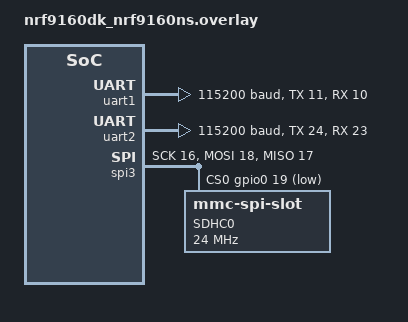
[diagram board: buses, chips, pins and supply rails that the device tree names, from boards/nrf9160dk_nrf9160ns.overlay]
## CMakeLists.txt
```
#
# Copyright (c) 2018 Nordic Semiconductor ASA
#
# SPDX-License-Identifier: LicenseRef-BSD-5-Clause-Nordic
#

cmake_minimum_required(VERSION 3.13.1)
list(APPEND BOARD_ROOT ${CMAKE_CURRENT_SOURCE_DIR})

find_package(Zephyr REQUIRED HINTS $ENV{ZEPHYR_BASE})
project(oasys_project)

if(NOT EXISTS ${APPLICATION_SOURCE_DIR}/src/private_info/key.c)
    message(FATAL_ERROR "!!!!!! Generate key file before continuing !!!!!!")
endif()

# NORDIC SDK APP START

file(GLOB SRC_FILES
    "src/*.c"
)
file(GLOB HEADER_FILES
    "include/*.h"
)

target_sources(app PRIVATE
    ${SRC_FILES}
    ${HEADER_FILES}
    src/private_info/key.c
)

zephyr_include_directories(include)

# NORDIC SDK APP END
```

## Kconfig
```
#
# Copyright (c) 2020 Nordic Semiconductor ASA
#
# SPDX-License-Identifier: LicenseRef-BSD-5-Clause-Nordic
#

menu "Gcloud parameters"
config GCLOUD_PROJECT_NAME
    string "Name of the Google Cloud project"

config GCLOUD_REGION
    string "Google cloud region"

config GCLOUD_REGISTRY_NAME
    string "Name of the Google Cloud reigstry of the device"

config GCLOUD_DEVICE_NAME
    string "Name of the device in Google Cloud"
          

config DATE_TIME_UPDATE_INTERVAL_SECONDS
    int "Date time update interval, in seconds"
    default 10

config GCLOUD_WATCHDOG_TIMEOUT_MSEC
    int "Watchdog timeout in milliseconds"
    default 10000

config GCLOUD_LOG_LEVEL
    int "App log level"
    default 4

endmenu
    
menuconfig DATE_TIME
    bool "Date time library"
    select AT_CMD
    select SNTP
    depends on BSD_LIBRARY

menu "MQTT simple sample"
config MQTT_PUB_TOPIC
	string "MQTT publish topic"
	default "my/publish/topic"

config MQTT_SUB_TOPIC
	string "MQTT subscribe topic"
	default "my/subscribe/topic"

config MQTT_CLIENT_ID
	string "MQTT Client ID"
	default "my-client-id"

config MQTT_BROKER_HOSTNAME
	string "MQTT broker hostname"
	default "mqtt.eclipse.org"

config MQTT_BROKER_PORT
	int "MQTT broker port"
	default 1883

config MQTT_MESSAGE_BUFFER_SIZE
	int "MQTT message buffer size"
	default 256

config MQTT_PAYLOAD_BUFFER_SIZE
	int "MQTT payload buffer size"
	default 256

config BUTTON_EVENT_PUBLISH_MSG
	string "The message to publish on a button event"
	default "Hello from nRF91 MQTT Simple Sample"

config BUTTON_EVENT_BTN_NUM
	int "The button number"
	default 1

config MQTT_RECONNECT_DELAY_S
	int "Seconds to delay before attempting to reconnect to the broker."
	default 60

config LTE_CONNECT_RETRY_DELAY_S
	int "Seconds to delay before attempting to retry LTE connection."
	default 120

config MQTT_TLS_SEC_TAG
	int "TLS credentials security tag"
	default 24

config MQTT_TLS_SESSION_CACHING
	bool "Enable TLS session caching"

config MQTT_TLS_PEER_VERIFY
	int "Set peer verification level"
	default 2
	help
		Set to 0 for VERIFY_NONE, 1 for VERIFY_OPTIONAL, and 2 for
		VERIFY_REQUIRED.

endmenu

menu "GPS sample"

config GPS_SAMPLE_NMEA_ONLY
	bool "Output only NMEA strings"
	help
	  Outputs only NMEA strings from the GPS.

choice GPS_SAMPLE_ANTENNA
	default GPS_SAMPLE_ANTENNA_ONBOARD
	prompt "Select which antenna to use for GPS"

config GPS_SAMPLE_ANTENNA_ONBOARD
	bool "Use onboard antenna"

config GPS_SAMPLE_ANTENNA_EXTERNAL
	bool "Use external antenna"

endchoice

endmenu

config PRINTK
    bool "Send printk() to console"
    default y
    help
        This option directs printk() debugging output to the supported
        console device, rather than suppressing the generation
        of printk() output entirely. Output is sent immediately, without
        any mutual exclusion or buffering.

menu "Zephyr Kernel"
source "Kconfig.zephyr"
endmenu

module = MQTT_SIMPLE
module-str = MQTT Simple
source "${ZEPHYR_BASE}/subsys/logging/Kconfig.template.log_config"
```

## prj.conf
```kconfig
#
# Copyright (c) 2020 Nordic Semiconductor ASA
#
# SPDX-License-Identifier: LicenseRef-BSD-5-Clause-Nordic
#
CONFIG_STDOUT_CONSOLE=y
CONFIG_NEWLIB_LIBC=y
CONFIG_NEWLIB_LIBC_FLOAT_PRINTF=y
CONFIG_AT_CMD=y
CONFIG_AT_NOTIF=y

# Networking
CONFIG_NETWORKING=y
CONFIG_NET_NATIVE=n
CONFIG_NET_SOCKETS_OFFLOAD=y
CONFIG_NET_SOCKETS=y
CONFIG_NET_SOCKETS_POSIX_NAMES=y

# LTE link control
CONFIG_LTE_LINK_CONTROL=y
CONFIG_LTE_AUTO_INIT_AND_CONNECT=n
# FOR DEBUGGING ONLY
CONFIG_LTE_NETWORK_TIMEOUT=10
CONFIG_LTE_CONNECT_RETRY_DELAY_S=10

# BSD library
CONFIG_BSD_LIBRARY=y

# AT Host
CONFIG_UART_INTERRUPT_DRIVEN=y
CONFIG_AT_HOST_LIBRARY=y

# MQTT
CONFIG_MQTT_LIB=y
CONFIG_MQTT_LIB_TLS=y
CONFIG_MQTT_CLEAN_SESSION=y

# # Application
# CONFIG_MQTT_PUB_TOPIC="projects/nordicoasys/topics/data"
# CONFIG_MQTT_SUB_TOPIC="projects/nordicoasys/topics/commands"
# CONFIG_MQTT_CLIENT_ID="einarNrf9160"
# CONFIG_MQTT_BROKER_HOSTNAME="broker.mqttdashboard.com"
# CONFIG_MQTT_BROKER_PORT=1883

# Button support
CONFIG_DK_LIBRARY=y

# Enable logging
CONFIG_LOG=y
CONFIG_MQTT_SIMPLE_LOG_LEVEL_DBG=y

CONFIG_DK_LIBRARY_INVERT_LEDS=n
# CONFIG_DK_LIBRARY_INVERT_BUTTONS=n

# UART
CONFIG_GPIO=y
CONFIG_SERIAL=y

# SD
CONFIG_FILE_SYSTEM=y
CONFIG_FAT_FILESYSTEM_ELM=y
CONFIG_DISK_ACCESS_SDHC=y
CONFIG_DISK_ACCESS_SPI_SDHC=y
CONFIG_SPI=y
CONFIG_SPI_3=y
CONFIG_NRFX_SPIM=y

# Main Thread
CONFIG_MAIN_THREAD_PRIORITY=7






# App config
CONFIG_GCLOUD_LOG_LEVEL=4
CONFIG_WATCHDOG=n
CONFIG_ASSERT=y
CONFIG_REBOOT=y

# General config
CONFIG_CJSON_LIB=y

# Debug settings
CONFIG_LOG_PRINTK=n
CONFIG_LOG_DEFAULT_LEVEL=4
# CONFIG_LOG_BACKEND_SHOW_COLOR=y
# CONFIG_LOG_BACKEND_UART=y
# CONFIG_LOG_BACKEND_RTT=n

# # Optimisation
# CONFIG_NO_OPTIMIZATIONS=y
# CONFIG_DEBUG=y

# Expand logging memory to avoid log_strdup() errors
CONFIG_LOG_STRDUP_MAX_STRING=256
CONFIG_LOG_STRDUP_BUF_COUNT=12

# LTE link control
CONFIG_LTE_LINK_CONTROL_LOG_LEVEL_DBG=n

CONFIG_LTE_NETWORK_MODE_NBIOT=n
CONFIG_LTE_NETWORK_MODE_LTE_M=y
CONFIG_LTE_NETWORK_USE_FALLBACK=n

CONFIG_DATE_TIME_UPDATE_INTERVAL_SECONDS=0

CONFIG_LTE_LEGACY_PCO_MODE=n
CONFIG_LTE_PSM_REQ_RPTAU="00000110"
CONFIG_LTE_PSM_REQ_RAT="00000010"
# CONFIG_LTE_PSM_REQ_RPTAU="10100000"
# CONFIG_LTE_PSM_REQ_RAT="11100000"

# BSD library
CONFIG_DATE_TIME=y
CONFIG_DATE_TIME_MODEM=y
CONFIG_DATE_TIME_UPDATE_INTERVAL_SECONDS=3600
CONFIG_SNTP=y
CONFIG_FP_HARDABI=y
# CONFIG_DATE_TIME_LOG_LEVEL_DBG=y

# Disable Modem traces, since we need UART1 for HCI
CONFIG_BSD_LIBRARY_TRACE_ENABLED=n

# Networking
# CONFIG_NET_LOG=y
# CONFIG_NET_SOCKETS_LOG_LEVEL_DBG=y

CONFIG_NET_IPV4=y
CONFIG_NET_IPV6=n
CONFIG_NET_TCP=y
CONFIG_NET_UDP=y

# nRF9160 helper libraries
CONFIG_MODEM_KEY_MGMT=y
CONFIG_DNS_RESOLVER=y
CONFIG_MODEM_INFO=y

# Google Cloud
CONFIG_GCLOUD_REGION="europe-west1"
CONFIG_GCLOUD_PROJECT_NAME="oasys-2d5b2"
CONFIG_GCLOUD_REGISTRY_NAME="oasys_gliders"
CONFIG_GCLOUD_DEVICE_NAME="G039189"

# JSON
CONFIG_JSON_LIBRARY=y

# JWT
CONFIG_JWT=y
CONFIG_JWT_SIGN_ECDSA=y

# MQTT
CONFIG_MQTT_MESSAGE_BUFFER_SIZE=1024
CONFIG_MQTT_PAYLOAD_BUFFER_SIZE=1024

# Heap and stacks
CONFIG_HEAP_MEM_POOL_SIZE=16384
CONFIG_MAIN_STACK_SIZE=8192
CONFIG_SYSTEM_WORKQUEUE_STACK_SIZE=2048
CONFIG_HW_STACK_PROTECTION=y

# Enable settings storage
CONFIG_SETTINGS=y
```

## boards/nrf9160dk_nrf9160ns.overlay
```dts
&uart1 {
	status = "okay";
	current-speed = <115200>;
	tx-pin = <11>;
	rx-pin = <10>;
	rts-pin = <12>;
	cts-pin = <13>;
};

&i2c2 {
	status = "disabled";
};

&uart2 {
	status = "okay";
	current-speed = <115200>;
	tx-pin = <24>;
	rx-pin = <23>;
	rts-pin = <26>;
	cts-pin = <27>;
};

&spi3 {

	status = "okay";
	sck-pin = <16>;
	mosi-pin = <18>;
	miso-pin = <17>;

	cs-gpios = <&gpio0 19 GPIO_ACTIVE_LOW>;

	sdhc0: sdhc@0 {
		compatible = "zephyr,mmc-spi-slot";
		reg = <0>;
		status = "okay";
		label = "SDHC0";
		spi-max-frequency = <24000000>;
	};
};
```

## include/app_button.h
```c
#pragma once
#ifndef _APP_BUTTON_H_
#define _APP_BUTTON_H_

void button_dev_init(void);
void ext_led_init(void);
// int toggle_LED(int led_val);
int set_LED(int led_val, int val);

#endif
```

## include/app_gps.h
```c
#pragma once
#ifndef _APP_GPS_H_
#define _APP_GPS_H_

#include <time.h>

typedef struct
{
	uint8_t gps_string[128];

	struct tm time;

} glider_gps_data_t;

int app_gps(glider_gps_data_t *app_gps_data, int64_t gps_timeout, int retry_interval);

#endif
```

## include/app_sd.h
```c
#pragma once
#ifndef _APP_SD_H_
#define _APP_SD_H_

enum sd_event_type
{
    READ_JSON,
    READ_JSON_4G,
    FIND_FILE,
    SEND_FILE_INFO,
    READ_FILE,
    OVERWRITE_FILE,
    WRITE_FILE
};

typedef struct
{
    enum sd_event_type event;
    uint8_t filename[32];
    uint8_t string[512];
} sd_msg_t;

void app_sd(void);
void app_sd_thread(void *unused1, void *unused2, void *unused3);

#endif
```

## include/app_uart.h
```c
#pragma once
#ifndef _APP_UART_H_
#define _APP_UART_H_

enum uart_device_type
{
	UART_1,
	UART_2
};

void uart_dev_init(enum uart_device_type uart_dev_no);
void uart_start(enum uart_device_type uart_dev_no);
void uart_exit(enum uart_device_type uart_dev_no);
void uart_send(enum uart_device_type uart_dev_no, char *msg, size_t len);

#endif
```

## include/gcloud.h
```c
#ifndef __MQTT_H__
#define __MQTT_H__

#include <modem/lte_lc.h>
#include <net/mqtt.h>

typedef void (*received_config_handler_t)(const struct mqtt_publish_message *message);

/**
 * @brief Publishes data to Google Cloud.
 * 
 * @param[in] data A pointer to the data to be sent.
 * @param[in] size The size of the data to be sent.
 * @param[in] qos The Quality of Serive level to be used when sending the telemetry.
 * 
 * @note Google Cloud does only support QoS 0 and QoS 1, not QoS 2
 * 
 * @retval 0 or an error code indicating reason for failure.
 */
// CANDO: Make it possible to publish gps to subtopics
int gcloud_publish(uint8_t *data, uint32_t size, enum mqtt_qos qos);

/**
 * @brief Publishes device state to Google Cloud.
 * 
 * @param[in] data A pointer to the data to be sent.
 * @param[in] size The size of the data to be sent.
 * @param[in] qos The Quality of service level to be used when sending the state.
 * 
 * @note Google Cloud does only support QoS 0 and QoS 1, not Qos 2.
 * @note Google Cloud limits state updates to 1 update per second, per device. 
 *       However, for best results, device state should be updated much less often 
 *       - at most, once every 10 second.
 * 
 * @retval 0 or an error code indicating reson for failure.
 */
int gcloud_publish_state(uint8_t *data, uint32_t size, enum mqtt_qos qos);

/**
 * @brief Initializes the module and provisions the modem so that an TLS 
 * connection can be established to Google Cloud.
 * 
 * @note Shall be called before the modem is turned on.
 * @note Shall be called before gcloud_connect.
 * @note If module initialization fails, no module APIs shall be called.
 * 
 * @retval 0 or an error code indicating reason for failure.
 */
int modem_configure(void);

int modem_reconnect(void);

int gcloud_provision(void);

int app_gcloud_init_and_connect(int retries);

int app_gcloud_reconnect(int retries);

int app_gcloud(void);

int app_gcloud_disconnect(int retries);

#endif /* __MQTT_H__ */
```

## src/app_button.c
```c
#include <zephyr.h>
#include <device.h>
#include <drivers/gpio.h>
#include <kernel.h>
#include <string.h>
#include <dk_buttons_and_leds.h>

#include "app_button.h"
#include "app_uart.h"
#include "app_mqtt.h"

static bool led1_on = false;

#define MSG_1 "Pressed Button 1"
#define MSG_2 "Pressed Button 2"
#define MSG_3 "{\"health\":\"true\"}"
#define MSG_4 "{\"health\":\"false\"}"
#define MSG_DEFAULT "\"hi\"\n"
#define MSG_DEFAULT2 "ABCDEFGHIJ"
#define MSG_DEFAULT3 "short"
// message queues
extern struct k_msgq button_msg_q;
extern struct k_msgq button_msg_qr;
static int app_button_config;

extern struct k_msgq uart_msg_q;
extern struct k_msgq mqtt_msg_q;

// LOCAL
const struct device *dev_gpio;

static void button_handler(uint32_t button_states, uint32_t has_changed)
{
	// printk("button states: %d, has changed: %d \n", button_states, has_changed);
	// printk("button 1: %d\n", gpio_pin_get(dev_gpio, 6));
	// printk("button 2: %d\n", gpio_pin_get(dev_gpio, 7));

	int app_button_ret_val;

	k_msgq_get(&button_msg_q, &app_button_config, K_NO_WAIT);

	// TODO: create functions for the cases
	switch (app_button_config)
	{
	case 0: // for waiting
		if (has_changed == 1 && !gpio_pin_get(dev_gpio, 6))
		{
			app_button_ret_val = 1;
			k_msgq_put(&button_msg_qr, &app_button_ret_val, K_NO_WAIT);
		}

		break;
	case 1: // UART
		if (has_changed == 1 && !gpio_pin_get(dev_gpio, 6))
		{
			k_msgq_put(&uart_msg_q, "surfaced", K_NO_WAIT);
		}

		break;
	// case 2: // MQTT
	// 	if (has_changed == 1 && !gpio_pin_get(dev_gpio, 6))
	// 	{
	// 		k_msgq_put(&mqtt_msg_q, "exit", K_NO_WAIT);
	// 	}

	// 	else if (has_changed == 2 && !gpio_pin_get(dev_gpio, 7))
	// 	{
	// 		app_data_publish(MSG_2, sizeof(MSG_2));
	// 	}

	// 	else if (has_changed == 4)
	// 	{
	// 		app_data_publish(MSG_3, sizeof(MSG_3));
	// 	}

	// 	else if (has_changed == 8)
	// 	{
	// 		app_data_publish(MSG_4, sizeof(MSG_4));
	// 	}

	// 	break;
	case 3: // Choice: wifi or mqtt
		if (has_changed == 1 && !gpio_pin_get(dev_gpio, 6))
		{
			app_button_ret_val = 1;
			k_msgq_put(&button_msg_qr, &app_button_ret_val, K_NO_WAIT);
		}

		break;
		// case 999: // DO NOT USE, ONLY FOR TEMPLATE
		// 	if(has_changed == 1 && !gpio_pin_get(dev_gpio, 6)) {
		// 		// empty
		// 	}

		// 	else if(has_changed == 2 && !gpio_pin_get(dev_gpio, 7)) {
		// 		// empty
		// 	}

		// 	else if(has_changed == 4) {
		// 		// empty
		// 	}

		// 	else if(has_changed == 8) {
		// 		// empty
		// 	}
		// 	break;

	default:
		printk("\nunregistered button configuration\n");
		break;
	}
}

// initialize buttons
void button_dev_init(void)
{
	dev_gpio = device_get_binding("GPIO_0");
	dk_buttons_init(button_handler);
}

// external LEDS
void ext_led_init()
{
	gpio_pin_configure(dev_gpio, 21, GPIO_OUTPUT_INACTIVE); // SD module
	gpio_pin_configure(dev_gpio, 22, GPIO_OUTPUT_INACTIVE); // gps module
	gpio_pin_configure(dev_gpio, 20, GPIO_OUTPUT_INACTIVE); // sensor module
	gpio_pin_configure(dev_gpio, 30, GPIO_OUTPUT_INACTIVE); // wifi module
	gpio_pin_configure(dev_gpio, 31, GPIO_OUTPUT_INACTIVE); // 4G module
															// 30 & 31 satellite module
}

// toggle specified LED
// NO LONGER IN USE
/*
int toggle_LED(int led_val)
{
	switch (led_val)
	{
	case 1:
		led1_on = !led1_on;
		dk_set_led(DK_LED1, led1_on);

		break;
	case 20:
		gpio_pin_toggle(dev_gpio, 20);

		break;
	case 21:
		gpio_pin_toggle(dev_gpio, 21);

		break;
	case 22:
		gpio_pin_toggle(dev_gpio, 22);

		break;
	case 30:
		gpio_pin_toggle(dev_gpio, 30);

		break;
	case 31:
		gpio_pin_toggle(dev_gpio, 31);

		break;
	default:
		printk("\nunknown led value\n");
		break;
	}

	return 0;
}
*/

// set specified LED value
int set_LED(int led_val, int val)
{
	gpio_pin_set(dev_gpio, led_val, val);

	return 0;
}
```

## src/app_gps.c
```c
/*
 * Copyright (c) 2019 Nordic Semiconductor ASA
 *
 * SPDX-License-Identifier: LicenseRef-BSD-5-Clause-Nordic
 */

#include <zephyr.h>
#include <nrf_socket.h>
#include <net/socket.h>
#include <stdio.h>
#include <string.h>
#include <modem/at_cmd.h>
#include <modem/at_notif.h>
#include <cJSON.h>
#include <time.h>
#include <date_time.h>

#include "app_gps.h"

LOG_MODULE_REGISTER(app_gps);

#ifdef CONFIG_SUPL_CLIENT_LIB
#include <supl_os_client.h>
#include <supl_session.h>
#include "supl_support.h"
#endif

#define AT_XSYSTEMMODE "AT\%XSYSTEMMODE=1,0,1,0"
#define AT_DEACTIVATE_GPS "AT+CFUN=30"
#define AT_ACTIVATE_GPS "AT+CFUN=31"
#define AT_ACTIVATE_LTE "AT+CFUN=21"
#define AT_DEACTIVATE_LTE "AT+CFUN=20"

#define GNSS_INIT_AND_START 1
#define GNSS_STOP 2
#define GNSS_RESTART 3

#define AT_CMD_SIZE(x) (sizeof(x) - 1)

#ifdef CONFIG_BOARD_NRF9160DK_NRF9160NS
#define AT_MAGPIO "AT\%XMAGPIO=1,0,0,1,1,1574,1577"
#ifdef CONFIG_GPS_SAMPLE_ANTENNA_ONBOARD
#define AT_COEX0 "AT\%XCOEX0=1,1,1565,1586"
#elif CONFIG_GPS_SAMPLE_ANTENNA_EXTERNAL
#define AT_COEX0 "AT\%XCOEX0"
#endif
#endif /* CONFIG_BOARD_NRF9160DK_NRF9160NS */

static const char update_indicator[] = {'\\', '|', '/', '-'};
static const char *const at_commands[] = {
	AT_XSYSTEMMODE,
#if defined(CONFIG_BOARD_NRF9160DK_NRF9160NS)
	AT_MAGPIO,
	AT_COEX0,
#endif
	AT_ACTIVATE_GPS};

static int gnss_fd;
static char nmea_strings[10][NRF_GNSS_NMEA_MAX_LEN];
static uint32_t nmea_string_cnt;

static bool got_fix;
static uint64_t fix_timestamp;
static nrf_gnss_data_frame_t last_pvt;

K_SEM_DEFINE(lte_ready, 0, 1);

// CUSTOM DECLARATIONS

extern struct k_msgq gps_msg_q;
static bool init_complete = false;

static int setup_modem(void)
{
	int ret = 0;
	for (int i = 0; i < ARRAY_SIZE(at_commands); i++)
	{
		ret = at_cmd_write(at_commands[i], NULL, 0, NULL);
		if (ret != 0)
		{
			LOG_ERR("Unable to execute AT command gps start, err: %d", ret);
			return -1;
		}
	}

	return 0;
}

#ifdef CONFIG_SUPL_CLIENT_LIB
/* Accepted network statuses read from modem */
static const char status1[] = "+CEREG: 1";
static const char status2[] = "+CEREG:1";
static const char status3[] = "+CEREG: 5";
static const char status4[] = "+CEREG:5";

static void wait_for_lte(void *context, const char *response)
{
	if (!memcmp(status1, response, AT_CMD_SIZE(status1)) ||
		!memcmp(status2, response, AT_CMD_SIZE(status2)) ||
		!memcmp(status3, response, AT_CMD_SIZE(status3)) ||
		!memcmp(status4, response, AT_CMD_SIZE(status4)))
	{
		k_sem_give(&lte_ready);
	}
}

static int activate_lte(bool activate)
{
	if (activate)
	{
		if (at_cmd_write(AT_ACTIVATE_LTE, NULL, 0, NULL) != 0)
		{
			return -1;
		}

		at_notif_register_handler(NULL, wait_for_lte);
		if (at_cmd_write("AT+CEREG=2", NULL, 0, NULL) != 0)
		{
			return -1;
		}

		k_sem_take(&lte_ready, K_FOREVER);

		at_notif_deregister_handler(NULL, wait_for_lte);
		if (at_cmd_write("AT+CEREG=0", NULL, 0, NULL) != 0)
		{
			return -1;
		}
	}
	else
	{
		if (at_cmd_write(AT_DEACTIVATE_LTE, NULL, 0, NULL) != 0)
		{
			return -1;
		}
	}

	return 0;
}
#endif

static int gnss_ctrl(uint32_t ctrl)
{
	int ret;

	nrf_gnss_fix_retry_t fix_retry = 0;
	nrf_gnss_fix_interval_t fix_interval = 1;
	nrf_gnss_delete_mask_t delete_mask = 0;
	nrf_gnss_nmea_mask_t nmea_mask = NRF_GNSS_NMEA_GSV_MASK |
									 NRF_GNSS_NMEA_GSA_MASK |
									 NRF_GNSS_NMEA_GLL_MASK |
									 NRF_GNSS_NMEA_GGA_MASK |
									 NRF_GNSS_NMEA_RMC_MASK;

	if (ctrl == GNSS_INIT_AND_START)
	{
		gnss_fd = nrf_socket(NRF_AF_LOCAL,
							 NRF_SOCK_DGRAM,
							 NRF_PROTO_GNSS);

		if (gnss_fd >= 0)
		{
			LOG_INF("GPS Socket created");
		}
		else
		{
			LOG_ERR("Could not init socket (err: %d)", gnss_fd);
			return -1;
		}

		ret = nrf_setsockopt(gnss_fd,
							 NRF_SOL_GNSS,
							 NRF_SO_GNSS_FIX_RETRY,
							 &fix_retry,
							 sizeof(fix_retry));
		if (ret != 0)
		{
			LOG_ERR("Failed to set fix retry value");
			return -1;
		}

		ret = nrf_setsockopt(gnss_fd,
							 NRF_SOL_GNSS,
							 NRF_SO_GNSS_FIX_INTERVAL,
							 &fix_interval,
							 sizeof(fix_interval));
		if (ret != 0)
		{
			LOG_ERR("Failed to set fix interval value");
			return -1;
		}

		ret = nrf_setsockopt(gnss_fd,
							 NRF_SOL_GNSS,
							 NRF_SO_GNSS_NMEA_MASK,
							 &nmea_mask,
							 sizeof(nmea_mask));
		if (ret != 0)
		{
			LOG_ERR("Failed to set nmea mask");
			return -1;
		}
	}

	if ((ctrl == GNSS_INIT_AND_START) ||
		(ctrl == GNSS_RESTART))
	{
		ret = nrf_setsockopt(gnss_fd,
							 NRF_SOL_GNSS,
							 NRF_SO_GNSS_START,
							 &delete_mask,
							 sizeof(delete_mask));
		if (ret != 0)
		{
			LOG_ERR("Failed to start GPS");
			return -1;
		}
	}

	if (ctrl == GNSS_STOP)
	{
		ret = nrf_setsockopt(gnss_fd,
							 NRF_SOL_GNSS,
							 NRF_SO_GNSS_STOP,
							 &delete_mask,
							 sizeof(delete_mask));
		if (ret != 0)
		{
			LOG_ERR("Failed to stop GPS");
			return -1;
		}
	}

	return 0;
}

static int gps_init()
{
	int ret;

	ret = setup_modem();
	if (ret != 0)
	{
		return ret;
	}
	ret = gnss_ctrl(GNSS_INIT_AND_START);
	if (ret != 0)
	{
		return ret;
	}

	return 0;
}

static int gps_reinit()
{
	int ret;

	ret = setup_modem();
	// if (ret != 0)
	// {
	// 	return ret;
	// }
	ret = gnss_ctrl(GNSS_RESTART);
	if (ret != 0)
	{
		return ret;
	}

	return ret;
}

static void print_satellite_stats(nrf_gnss_data_frame_t *pvt_data)
{
	uint8_t tracked = 0;
	uint8_t in_fix = 0;
	uint8_t unhealthy = 0;

	for (int i = 0; i < NRF_GNSS_MAX_SATELLITES; ++i)
	{

		if ((pvt_data->pvt.sv[i].sv > 0) &&
			(pvt_data->pvt.sv[i].sv < 33))
		{

			tracked++;

			if (pvt_data->pvt.sv[i].flags &
				NRF_GNSS_SV_FLAG_USED_IN_FIX)
			{
				in_fix++;
			}

			if (pvt_data->pvt.sv[i].flags &
				NRF_GNSS_SV_FLAG_UNHEALTHY)
			{
				unhealthy++;
			}
		}
	}

	LOG_INF("Tracking: %d Using: %d Unhealthy: %d", tracked,
			in_fix,
			unhealthy);
}

static void print_gnss_stats(nrf_gnss_data_frame_t *pvt_data)
{
	if (pvt_data->pvt.flags & NRF_GNSS_PVT_FLAG_DEADLINE_MISSED)
	{
		LOG_INF("GNSS notification deadline missed");
	}
	if (pvt_data->pvt.flags & NRF_GNSS_PVT_FLAG_NOT_ENOUGH_WINDOW_TIME)
	{
		LOG_INF("GNSS operation blocked by insufficient time windows");
	}
}

static void print_fix_data(nrf_gnss_data_frame_t *pvt_data)
{
	// float logging does not work currently, data received is valid
	LOG_INF("Longitude:  %f", pvt_data->pvt.longitude);
	LOG_INF("Latitude:   %f", pvt_data->pvt.latitude);
	LOG_INF("Date:       %02u-%02u-%02u", pvt_data->pvt.datetime.year,
			pvt_data->pvt.datetime.month,
			pvt_data->pvt.datetime.day);
	LOG_INF("Time (UTC): %02u:%02u:%02u", pvt_data->pvt.datetime.hour,
			pvt_data->pvt.datetime.minute,
			pvt_data->pvt.datetime.seconds);
}

static void print_nmea_data(void)
{
	for (int i = 0; i < nmea_string_cnt; ++i)
	{
		LOG_INF("%s", nmea_strings[i]);
	}
}

int process_gps_data(nrf_gnss_data_frame_t *gps_data)
{
	int ret;

	ret = nrf_recv(gnss_fd,
				   gps_data,
				   sizeof(nrf_gnss_data_frame_t),
				   NRF_MSG_DONTWAIT);

	if (ret > 0)
	{

		switch (gps_data->data_id)
		{
		case NRF_GNSS_PVT_DATA_ID:
			memcpy(&last_pvt,
				   gps_data,
				   sizeof(nrf_gnss_data_frame_t));
			nmea_string_cnt = 0;
			got_fix = false;

			if ((gps_data->pvt.flags &
				 NRF_GNSS_PVT_FLAG_FIX_VALID_BIT) == NRF_GNSS_PVT_FLAG_FIX_VALID_BIT)
			{

				got_fix = true;
				fix_timestamp = k_uptime_get();
			}
			break;

		case NRF_GNSS_NMEA_DATA_ID:
			if (nmea_string_cnt < 10)
			{
				memcpy(nmea_strings[nmea_string_cnt++],
					   gps_data->nmea,
					   ret);
			}
			break;

		case NRF_GNSS_AGPS_DATA_ID:
#ifdef CONFIG_SUPL_CLIENT_LIB
			LOG_INF("\033[1;1H");
			LOG_INF("\033[2J");
			LOG_INF("New AGPS data requested, contacting SUPL server, flags %d",
					gps_data->agps.data_flags);
			gnss_ctrl(GNSS_STOP);
			activate_lte(true);
			LOG_INF("Established LTE link");
			if (open_supl_socket() == 0)
			{
				LOG_INF("Starting SUPL session");
				supl_session(&gps_data->agps);
				LOG_INF("Done");
				close_supl_socket();
			}
			activate_lte(false);
			gnss_ctrl(GNSS_RESTART);
			k_sleep(K_MSEC(2000));
#endif
			break;

		default:
			break;
		}
	}

	return ret;
}

#ifdef CONFIG_SUPL_CLIENT_LIB
int inject_agps_type(void *agps,
					 size_t agps_size,
					 nrf_gnss_agps_data_type_t type,
					 void *user_data)
{
	ARG_UNUSED(user_data);
	int ret = nrf_sendto(gnss_fd,
						 agps,
						 agps_size,
						 0,
						 &type,
						 sizeof(type));

	if (ret != 0)
	{
		LOG_ERR("Failed to send AGNSS data, type: %d (err: %d)",
				type,
				errno);
		return -1;
	}

	LOG_INF("Injected AGPS data, flags: %d, size: %d\n", type, agps_size);

	return 0;
}
#endif

// Creates JSON version of desired gps data, converts back to string in JSON format
static int gnss_data_to_JSON(void *gps_str, nrf_gnss_data_frame_t *pvt_data)
{
	cJSON *gps_JSON = cJSON_CreateObject();
	cJSON *gps_data = cJSON_CreateObject();

	uint8_t ts_string[64] = "";
	uint8_t date_string[64] = "";
	uint8_t tmp_str[16] = "";

	snprintf(tmp_str, sizeof(tmp_str), "%.4f", pvt_data->pvt.latitude);
	cJSON_AddStringToObject(gps_data, "lat", tmp_str);

	snprintf(tmp_str, sizeof(tmp_str), "%.4f", pvt_data->pvt.longitude);
	cJSON_AddStringToObject(gps_data, "lng", tmp_str);

	// adding date to JSON
	snprintf(tmp_str, sizeof(tmp_str), "%02u-", pvt_data->pvt.datetime.year);
	strcat(date_string, tmp_str);
	snprintf(tmp_str, sizeof(tmp_str), "%02u-", pvt_data->pvt.datetime.month);
	strcat(date_string, tmp_str);
	snprintf(tmp_str, sizeof(tmp_str), "%02u", pvt_data->pvt.datetime.day);
	strcat(date_string, tmp_str);

	// adding timestamp to JSON
	snprintf(tmp_str, sizeof(tmp_str), "%02u:", pvt_data->pvt.datetime.hour + 2);
	strcat(ts_string, tmp_str);
	snprintf(tmp_str, sizeof(tmp_str), "%02u:", pvt_data->pvt.datetime.minute);
	strcat(ts_string, tmp_str);
	snprintf(tmp_str, sizeof(tmp_str), "%02u", pvt_data->pvt.datetime.seconds);
	strcat(ts_string, tmp_str);

	cJSON_AddItemToObject(gps_JSON, "data", gps_data);
	cJSON_AddStringToObject(gps_JSON, "dt", date_string);
	cJSON_AddStringToObject(gps_JSON, "ts", ts_string);

	strcpy(gps_str, cJSON_Print(gps_JSON));
	cJSON_Minify(gps_str);

	// cJSON_Delete(gps_data);
	cJSON_Delete(gps_JSON);

	return 0;
}

// Creates dummy data. Values are constant
static int create_dummy_gps_data(nrf_gnss_data_frame_t *pvt_data)
{
	got_fix = 1;

	pvt_data->pvt.longitude = 23.771611;
	pvt_data->pvt.latitude = 61.491278;
	pvt_data->pvt.altitude = 116.274658;
	pvt_data->pvt.speed = 0.039595;
	pvt_data->pvt.heading = 0.000000;

	pvt_data->pvt.datetime.year = 2021;
	pvt_data->pvt.datetime.month = 04;
	pvt_data->pvt.datetime.day = 22;
	pvt_data->pvt.datetime.hour = 19;
	pvt_data->pvt.datetime.minute = 07;
	pvt_data->pvt.datetime.seconds = 34;

	LOG_INF("Created dummy gps data");

	return 0;
}

static int gps_fill_struct(glider_gps_data_t *app_gps_data, nrf_gnss_data_frame_t *pvt_data, void *gps_string)
{
	strcpy(app_gps_data->gps_string, gps_string);

	app_gps_data->time.tm_year = pvt_data->pvt.datetime.year - 1900;
	app_gps_data->time.tm_mon = pvt_data->pvt.datetime.month - 1;
	app_gps_data->time.tm_mday = pvt_data->pvt.datetime.day;
	app_gps_data->time.tm_hour = pvt_data->pvt.datetime.hour;
	app_gps_data->time.tm_min = pvt_data->pvt.datetime.minute;
	app_gps_data->time.tm_sec = pvt_data->pvt.datetime.seconds;

	return 0;
}

int app_gps(glider_gps_data_t *app_gps_data, int64_t gps_timeout, int retry_interval)
{
	int ret = 0;

	nrf_gnss_data_frame_t gps_data;
	got_fix = false;

	uint8_t gps_string[128] = "";
	int64_t start_time = k_uptime_get();
	int64_t current_time = 0;

	int cnt = 0;

	LOG_INF("Starting GPS application");

	// first time gps runs
	if (init_complete == false)
	{

		if (gps_init() != 0)
		{
			LOG_ERR("Error in gps initialization");
			return -1;
		}

		init_complete = true;
	}
	// Reconnect
	else
	{
		if (gps_reinit() != 0)
		{
			LOG_ERR("Error in gps reinitialization");
			return -1;
		}
	}

	LOG_INF("Getting GPS data...");
	while (current_time <= gps_timeout)
	{

		current_time = k_uptime_get() - start_time;

		do
		{
			/* Loop until we don't have more
			 * data to read
			 */
		} while (process_gps_data(&gps_data) > 0);

		if (IS_ENABLED(CONFIG_GPS_SAMPLE_NMEA_ONLY))
		{
			print_nmea_data();
			nmea_string_cnt = 0;
		}
		else
		{
			// LOG_INF("\033[1;1H");
			// LOG_INF("\033[2J");
			print_satellite_stats(&last_pvt);
			print_gnss_stats(&last_pvt);
			LOG_INF("---------------------------------");

			if (!got_fix)
			{
				LOG_INF("Searching [%c] ---- Elapsed time: %d s",
						update_indicator[cnt++ % 4], (int32_t)(current_time) / 1000);
			}
			else
			{
				LOG_INF("Got fix");
				print_fix_data(&last_pvt);
				break;
			}

			// LOG_INF("\nNMEA strings:\n\n");
			// print_nmea_data();
			// LOG_INF("---------------------------------");
		}

		k_sleep(K_MSEC(retry_interval));
	}

	if (!got_fix)
	{
		// create dummy data, REMINDER: COMMENT WHEN RUNNING PROPER TESTS
		// create_dummy_gps_data(&last_pvt);
		// gnss_data_to_JSON(&gps_string, &last_pvt);
		// gps_fill_struct(app_gps_data, &last_pvt, &gps_string);
		LOG_INF("Unable to get gps data within timeout");

		LOG_INF("Stopping GPS module");

		// AT command to turn off GPS
		ret = gnss_ctrl(GNSS_STOP);
		if (at_cmd_write(AT_DEACTIVATE_GPS, NULL, 0, NULL) != 0)
		{
			LOG_ERR("\nunable to deactivate GPS");
		}

		return 1;
	}
	else
	{
		// fill out struct
		gnss_data_to_JSON(&gps_string, &last_pvt);
		gps_fill_struct(app_gps_data, &last_pvt, &gps_string);
	}

	LOG_INF("Stopping GPS module");

	// AT command to turn off GPS
	ret = gnss_ctrl(GNSS_STOP);
	if (at_cmd_write(AT_DEACTIVATE_GPS, NULL, 0, NULL) != 0)
	{
		LOG_ERR("\nunable to deactivate GPS");
	}

	return 0;
}
```

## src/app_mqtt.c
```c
/*
 * Copyright (c) 2018 Nordic Semiconductor ASA
 *
 * SPDX-License-Identifier: LicenseRef-BSD-5-Clause-Nordic
 */

#include <zephyr.h>
#include <stdio.h>
#include <random/rand32.h>
#include <net/mqtt.h>
#include <net/socket.h>
#include <modem/lte_lc.h>
#include <logging/log.h>
#include <string.h>
#include "app_mqtt.h"
#include "app_button.h"


#if defined(CONFIG_MODEM_KEY_MGMT)
#include <modem/modem_key_mgmt.h>
#endif

// VARIABLES FROM MAIN
extern struct k_msgq mqtt_msg_q;

LOG_MODULE_REGISTER(mqtt_simple, CONFIG_MQTT_SIMPLE_LOG_LEVEL);

/* Buffers for MQTT client. */
static uint8_t rx_buffer[CONFIG_MQTT_MESSAGE_BUFFER_SIZE];
static uint8_t tx_buffer[CONFIG_MQTT_MESSAGE_BUFFER_SIZE];
static uint8_t payload_buf[CONFIG_MQTT_PAYLOAD_BUFFER_SIZE];

/* The mqtt client struct */
static struct mqtt_client client;

/* MQTT Broker details. */
static struct sockaddr_storage broker;

/* File descriptor */
static struct pollfd fds;


#if defined(CONFIG_BSD_LIBRARY)

/**@brief Recoverable BSD library error. */
void bsd_recoverable_error_handler(uint32_t err)
{
	LOG_ERR("bsdlib recoverable error: %u", (unsigned int)err);
}

#endif /* defined(CONFIG_BSD_LIBRARY) */

/**@brief Function to print strings without null-termination
 */
static void data_print(uint8_t *prefix, uint8_t *data, size_t len)
{
	char buf[len + 1];

	memcpy(buf, data, len);
	buf[len] = 0;
	LOG_INF("%s%s", log_strdup(prefix), log_strdup(buf));
}

/**@brief Function to publish data on the configured topic
 */
int data_publish(struct mqtt_client *c, enum mqtt_qos qos,
	uint8_t *data, size_t len)
{
	struct mqtt_publish_param param;

	param.message.topic.qos = qos;
	param.message.topic.topic.utf8 = CONFIG_MQTT_PUB_TOPIC;
	param.message.topic.topic.size = strlen(CONFIG_MQTT_PUB_TOPIC);
	param.message.payload.data = data;
	param.message.payload.len = len;
	param.message_id = sys_rand32_get();
	param.dup_flag = 0;
	param.retain_flag = 0;

	data_print("Publishing: ", data, len);
	LOG_INF("to topic: %s len: %u",
		CONFIG_MQTT_PUB_TOPIC,
		(unsigned int)strlen(CONFIG_MQTT_PUB_TOPIC));

	return mqtt_publish(c, &param);
}

/**@brief Function to subscribe to the configured topic
 */
static int subscribe(void)
{
	struct mqtt_topic subscribe_topic = {
		.topic = {
			.utf8 = CONFIG_MQTT_SUB_TOPIC,
			.size = strlen(CONFIG_MQTT_SUB_TOPIC)
		},
		.qos = MQTT_QOS_1_AT_LEAST_ONCE
	};

	const struct mqtt_subscription_list subscription_list = {
		.list = &subscribe_topic,
		.list_count = 1,
		.message_id = 1234
	};

	LOG_INF("Subscribing to: %s len %u", CONFIG_MQTT_SUB_TOPIC,
		(unsigned int)strlen(CONFIG_MQTT_SUB_TOPIC));

	return mqtt_subscribe(&client, &subscription_list);
}

/**@brief Function to read the published payload.
 */
static int publish_get_payload(struct mqtt_client *c, size_t length)
{
	if (length > sizeof(payload_buf)) {
		return -EMSGSIZE;
	}

	return mqtt_readall_publish_payload(c, payload_buf, length);
}

/**@brief MQTT client event handler
 */
void mqtt_evt_handler(struct mqtt_client *const c,
		      const struct mqtt_evt *evt)
{
	int err;

	switch (evt->type) {
	case MQTT_EVT_CONNACK:
		if (evt->result != 0) {
			LOG_ERR("MQTT connect failed: %d", evt->result);
			break;
		}

		LOG_INF("MQTT client connected");
		subscribe();
		break;

	case MQTT_EVT_DISCONNECT:
		LOG_INF("MQTT client disconnected: %d", evt->result);
		break;

	case MQTT_EVT_PUBLISH: {
		const struct mqtt_publish_param *p = &evt->param.publish;

		LOG_INF("MQTT PUBLISH result=%d len=%d",
			evt->result, p->message.payload.len);
		err = publish_get_payload(c, p->message.payload.len);

		if (p->message.topic.qos == MQTT_QOS_1_AT_LEAST_ONCE) {
			const struct mqtt_puback_param ack = {
				.message_id = p->message_id
			};

			/* Send acknowledgment. */
			mqtt_publish_qos1_ack(&client, &ack);
		}

		if (err >= 0) {
			data_print("Received: ", payload_buf,
				p->message.payload.len);

			// fixing length of string to be added to message queue
			char tmp_str[p->message.payload.len + 1];
			memcpy(tmp_str, payload_buf, p->message.payload.len);
			tmp_str[p->message.payload.len] = 0;

			k_msgq_put(&mqtt_msg_q, tmp_str, K_NO_WAIT);
	
		} else {
			LOG_ERR("publish_get_payload failed: %d", err);
			LOG_INF("Disconnecting MQTT client...");

			err = mqtt_disconnect(c);
			if (err) {
				LOG_ERR("Could not disconnect: %d", err);
			}
		}
	} break;

	case MQTT_EVT_PUBACK:
		if (evt->result != 0) {
			LOG_ERR("MQTT PUBACK error: %d", evt->result);
			break;
		}

		LOG_INF("PUBACK packet id: %u", evt->param.puback.message_id);
		break;

	case MQTT_EVT_SUBACK:
		if (evt->result != 0) {
			LOG_ERR("MQTT SUBACK error: %d", evt->result);
			break;
		}

		LOG_INF("SUBACK packet id: %u", evt->param.suback.message_id);
		break;

	case MQTT_EVT_PINGRESP:
		if (evt->result != 0) {
			LOG_ERR("MQTT PINGRESP error: %d", evt->result);
		}
		break;

	default:
		LOG_INF("Unhandled MQTT event type: %d", evt->type);
		break;
	}
}

/**@brief Resolves the configured hostname and
 * initializes the MQTT broker structure
 */
static int broker_init(void)
{
	int err;
	struct addrinfo *result;
	struct addrinfo *addr;
	struct addrinfo hints = {
		.ai_family = AF_INET,
		.ai_socktype = SOCK_STREAM
	};

	err = getaddrinfo(CONFIG_MQTT_BROKER_HOSTNAME, NULL, &hints, &result);
	if (err) {
		LOG_ERR("getaddrinfo failed: %d", err);
		return -ECHILD;
	}

	addr = result;

	/* Look for address of the broker. */
	while (addr != NULL) {
		/* IPv4 Address. */
		if (addr->ai_addrlen == sizeof(struct sockaddr_in)) {
			struct sockaddr_in *broker4 =
				((struct sockaddr_in *)&broker);
			char ipv4_addr[NET_IPV4_ADDR_LEN];

			broker4->sin_addr.s_addr =
				((struct sockaddr_in *)addr->ai_addr)
				->sin_addr.s_addr;
			broker4->sin_family = AF_INET;
			broker4->sin_port = htons(CONFIG_MQTT_BROKER_PORT);

			inet_ntop(AF_INET, &broker4->sin_addr.s_addr,
				  ipv4_addr, sizeof(ipv4_addr));
			LOG_INF("IPv4 Address found %s", log_strdup(ipv4_addr));

			break;
		} else {
			LOG_ERR("ai_addrlen = %u should be %u or %u",
				(unsigned int)addr->ai_addrlen,
				(unsigned int)sizeof(struct sockaddr_in),
				(unsigned int)sizeof(struct sockaddr_in6));
		}

		addr = addr->ai_next;
	}

	/* Free the address. */
	freeaddrinfo(result);

	return err;
}

/**@brief Initialize the MQTT client structure
 */
static int client_init(struct mqtt_client *client)
{
	int err;

	mqtt_client_init(client);

	err = broker_init();
	if (err) {
		LOG_ERR("Failed to initialize broker connection");
		return err;
	}
	
	/* MQTT client configuration */
	client->broker = &broker;
	client->evt_cb = mqtt_evt_handler;
	client->client_id.utf8 = (uint8_t *)CONFIG_MQTT_CLIENT_ID;
	client->client_id.size = strlen(CONFIG_MQTT_CLIENT_ID);
	client->password = NULL;
	client->user_name = NULL;
	client->protocol_version = MQTT_VERSION_3_1_1;

	/* MQTT buffers configuration */
	client->rx_buf = rx_buffer;
	client->rx_buf_size = sizeof(rx_buffer);
	client->tx_buf = tx_buffer;
	client->tx_buf_size = sizeof(tx_buffer);

	/* MQTT transport configuration */
#if defined(CONFIG_MQTT_LIB_TLS)
	struct mqtt_sec_config *tls_cfg = &(client->transport).tls.config;
	static sec_tag_t sec_tag_list[] = { CONFIG_MQTT_TLS_SEC_TAG };

	LOG_INF("TLS enabled");
	client->transport.type = MQTT_TRANSPORT_SECURE;

	tls_cfg->peer_verify = CONFIG_MQTT_TLS_PEER_VERIFY;
	tls_cfg->cipher_count = 0;
	tls_cfg->cipher_list = NULL;
	tls_cfg->sec_tag_count = ARRAY_SIZE(sec_tag_list);
	tls_cfg->sec_tag_list = sec_tag_list;
	tls_cfg->hostname = CONFIG_MQTT_BROKER_HOSTNAME;

#if defined(CONFIG_BSD_LIBRARY)
	tls_cfg->session_cache = IS_ENABLED(CONFIG_MQTT_TLS_SESSION_CACHING) ?
					    TLS_SESSION_CACHE_ENABLED :
					    TLS_SESSION_CACHE_DISABLED;
#else
	/* TLS session caching is not supported by the Zephyr network stack */
	tls_cfg->session_cache = TLS_SESSION_CACHE_DISABLED;

#endif

#else
	client->transport.type = MQTT_TRANSPORT_NON_SECURE;
#endif

	return err;
}

/**@brief Initialize the file descriptor structure used by poll.
 */
static int fds_init(struct mqtt_client *c)
{
	if (c->transport.type == MQTT_TRANSPORT_NON_SECURE) {
		fds.fd = c->transport.tcp.sock;
	} else {
	#if defined(CONFIG_MQTT_LIB_TLS)
		fds.fd = c->transport.tls.sock;
	#else
		return -ENOTSUP;
	#endif
	}

	fds.events = POLLIN;

	return 0;
}

/**@brief Configures modem to provide LTE link. Blocks until link is
 * successfully established.
 */
static int modem_configure(void)
{
	int err;

	LOG_INF("LTE Link Connecting and Initializing...");
	err = lte_lc_init_and_connect();
	if (err) {
		LOG_INF("Failed to establish LTE connection: %d", err);
		return err;
	}
	LOG_INF("LTE Link Connected!");

	/* Turn off power saving modes for a more responsive demo */
	LOG_INF("Disabling PSM and eDRX");
	lte_lc_psm_req(false);
	lte_lc_edrx_req(false);

	return err;
}

// CUSTOM FUNCTIONS START

static int modem_reconnect(void)
{
	int err;

	LOG_INF("LTE Link Connecting...");
	err = lte_lc_connect();
	if (err) {
		LOG_INF("Failed to establish LTE connection: %d", err);
		return err;
	}

	LOG_INF("LTE Link Connected!");

	return err;
}

// first time init for mqtt, ONLY RUN ONCE
// TODO: set max number of retries
int app_mqtt_init_and_connect(void)
{
	int err = 0;

	// modem configure
	do {
		err = modem_configure();
		if (err) {
			LOG_INF("Retrying in %d seconds", CONFIG_LTE_CONNECT_RETRY_DELAY_S);
			k_sleep(K_SECONDS(CONFIG_LTE_CONNECT_RETRY_DELAY_S));
		}
	} while (err);

	// mqtt init
	err = client_init(&client);
	if (err != 0) {
		LOG_ERR("client_init: %d", err);
		return err;
	}

	// mqtt connect
	do {
		err = mqtt_connect(&client);
		if (err != 0) {
			LOG_ERR("mqtt_connect %d", err);
			LOG_INF("Reconnecting in %d seconds...", CONFIG_MQTT_RECONNECT_DELAY_S);
			k_sleep(K_SECONDS(CONFIG_MQTT_RECONNECT_DELAY_S));
		}
	} while (err);

	// fds init
	err = fds_init(&client);
	if (err != 0) {
		LOG_ERR("fds_init: %d", err);
		return err;
	}

	return err;
}

// reconnect, run instead of app_mqtt_init_and_connect in consecutive uses of mqtt
// TODO: set max number of retries
int app_mqtt_connect(void)
{
    int err = 0;

	// modem configure
	do {
		err = modem_reconnect();
		if (err) {
			LOG_INF("Retrying in %d seconds", CONFIG_LTE_CONNECT_RETRY_DELAY_S);
			k_sleep(K_SECONDS(CONFIG_LTE_CONNECT_RETRY_DELAY_S));
		}
	} while (err);

	// mqtt connect
	do {
		err = mqtt_connect(&client);
		if (err != 0) {
			LOG_ERR("mqtt_connect %d", err);
			LOG_INF("Reconnecting in %d seconds...", CONFIG_MQTT_RECONNECT_DELAY_S);
			k_sleep(K_SECONDS(CONFIG_MQTT_RECONNECT_DELAY_S));
		}
	} while (err);

	return err;
}

// main mqtt loop
// CANDO: change poll to message queueing to allow instantaneous response from button
int app_mqtt_run(void)
{	
	int err;

	// wait for any mqtt input (default 60s), continues on input or timeout
	err = poll(&fds, 1, mqtt_keepalive_time_left(&client));
	if (err < 0) {
		LOG_ERR("poll: %d", errno);
		return err;
	}

	// ping mqtt broker
	err = mqtt_live(&client);
	if ((err != 0) && (err != -EAGAIN)) {
		LOG_ERR("ERROR: mqtt_live: %d", err);
		return err;
	}

	// updates mqtt receives and sends
	if ((fds.revents & POLLIN) == POLLIN) {
		err = mqtt_input(&client);
		if (err != 0) {
			LOG_ERR("mqtt_input: %d", err);
			return err;
		}
	}

	// error checks?
	if ((fds.revents & POLLERR) == POLLERR) {
		LOG_ERR("POLLERR");
		return err;
	}

	if ((fds.revents & POLLNVAL) == POLLNVAL) {
		LOG_ERR("POLLNVAL");
		return err;
	}

	return err;
}

// disconnect mqtt and turn off lte
int app_mqtt_disconnect(void)
{
    int err;
    
	LOG_INF("Disconnecting MQTT client...");

	// mqtt disconnect
	err = mqtt_disconnect(&client);
	if (err) {
		LOG_ERR("Could not disconnect MQTT client: %d", err);
		return err;
	}

	// lte off
	err = lte_lc_offline();
	if (err) {
		LOG_ERR("Could not set modem to offline: %d", err);
	}
	
	return err;
}

// simplified function to publish data to mqtt.
int app_data_publish(uint8_t *data, size_t len) {

	int err;
	err = data_publish(&client, MQTT_QOS_1_AT_LEAST_ONCE, data, len-1);

	if (err) {
		LOG_ERR("Publish failed: %d", err);
	}

	return err;
}
```

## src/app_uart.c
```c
#include <zephyr.h>
#include <drivers/uart.h>
#include <string.h>
#include "app_uart.h"
#include <logging/log.h>

LOG_MODULE_REGISTER(uart_module);

// VARIABLES FROM MAIN
extern struct k_msgq uart_msg_q;

// LOCAL
const struct device *dev_uart1;
const struct device *dev_uart2;

static uint8_t rx_buf[256];
static uint8_t tx_buf[40];

static void uart_cb(const struct device *dev_uart, void *context)
{

	uart_irq_update(dev_uart);

	// send uart msg, runs when uart_irq_tx_enable is run
	if (uart_irq_tx_ready(dev_uart))
	{
		// LOG_DBG("tx: %s", log_strdup(tx_buf));
		unsigned int key = irq_lock();
		(void)uart_fifo_fill(dev_uart, tx_buf, strlen(tx_buf));
		uart_irq_tx_disable(dev_uart);
		memset(tx_buf, 0, sizeof(tx_buf));
		irq_unlock(key);
	}

	// read uart msg, only reads in JSON format
	// adds to message queue when entire JSON is received
	if (uart_irq_rx_ready(dev_uart))
	{
		uint8_t buf[4] = "";
		int len = uart_fifo_read(dev_uart, buf, sizeof(buf));
		buf[len] = 0;

		// handling overflow
		if (strlen(rx_buf) >= sizeof(rx_buf) - 1)
		{
			printk("overflow, deleting str\n");
			memset(rx_buf, 0, sizeof(rx_buf));
		}
		// delimiter
		else if (buf[0] == '\r')
		{
			if (strlen(rx_buf) != 0)
			{
				LOG_DBG("rx: %s", log_strdup(rx_buf));
				k_msgq_put(&uart_msg_q, &rx_buf, K_NO_WAIT);
			}
			memset(rx_buf, 0, sizeof(rx_buf));
		}
		// filter for unwanted characters
		else if (buf[0] == '\n')
		{
		}
		else
		{
			strcat(rx_buf, buf);
		}
	}
}

// get device binding, only call once
void uart_dev_init(enum uart_device_type uart_dev_no)
{
	switch (uart_dev_no)
	{
	case UART_1:
		dev_uart1 = device_get_binding("UART_1");
		__ASSERT(dev_uart1, "Failed to get the device\n\n");
		uart_irq_callback_set(dev_uart1, uart_cb);
		break;

	case UART_2:
		dev_uart2 = device_get_binding("UART_2");
		__ASSERT(dev_uart2, "Failed to get the device\n\n");
		uart_irq_callback_set(dev_uart2, uart_cb);
		break;

	default:
		printk("\n\nUnknown UART device");
		break;
	}
}

// start uart, run before using uart functions,
// add more here if other functions need to be enabled before uart use
void uart_start(enum uart_device_type uart_dev_no)
{
	switch (uart_dev_no)
	{
	case UART_1:
		uart_irq_rx_disable(dev_uart1);
		uart_irq_rx_enable(dev_uart1);
		break;

	case UART_2:
		uart_irq_rx_disable(dev_uart2);
		uart_irq_rx_enable(dev_uart2);
		break;
	}
}

// turn off functions, might have to come back here and more things to disable
void uart_exit(enum uart_device_type uart_dev_no)
{
	switch (uart_dev_no)
	{
	case UART_1:
		uart_irq_rx_disable(dev_uart1);
		break;

	case UART_2:
		uart_irq_rx_disable(dev_uart2);
		break;
	}
}

// send data to uart device
void uart_send(enum uart_device_type uart_dev_no, char *msg, size_t len)
{
	if (len > 254)
	{
		LOG_INF("max UART string is 254 characters");
	}
	else
	{
		int char_cnt = 0;

		for (int i = 0; i < len; i++)
		{
			// add characters to uart buffer
			tx_buf[char_cnt++] = msg[i];

			// if uart buffer filled
			if ((char_cnt == 32) || (i == (len - 1)))
			{
				char_cnt = 0;

				switch (uart_dev_no)
				{
				case UART_1:
					uart_irq_tx_enable(dev_uart1);
					break;

				case UART_2:
					uart_irq_tx_enable(dev_uart2);
					break;
				}
				k_sleep(K_MSEC(4));
			}
		}

		strcat(tx_buf, "\r");
		strcat(tx_buf, "\0");

		switch (uart_dev_no)
		{
		case UART_1:
			uart_irq_tx_enable(dev_uart1);
			break;

		case UART_2:
			uart_irq_tx_enable(dev_uart2);
			break;
		}
		k_sleep(K_MSEC(4));
	}
}
/* Function ideas and TODOs

- specify UART to use
  currently uses switch case to find out which uart device to use.
  Horrible, need a switch case in each function.
  Possible fix: create device in main and pass device to functions, requires big overhaul.
*/
```
